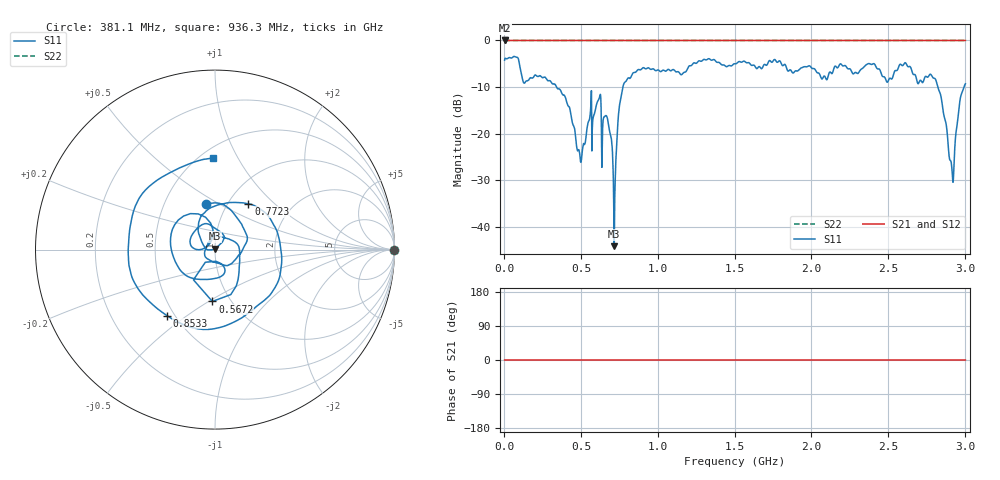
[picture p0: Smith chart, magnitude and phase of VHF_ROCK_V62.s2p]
!Keysight Technologies N9923A: A.08.09
!Date: Thursday, 02 August 2018 07:22:11
!Timezone: (GMT+08:00) Kuala Lumpur, Singapore
!Model: N9923A
!Serial: MY52412143
!GPS Latitude:
!GPS Longitude:
!GPS TimeStamp: 0001-01-01 00:00:00Z
!GPS Seconds Since Last Read: 0
!CHECKSUM:1125329345
!Correction: S11(ON U)S21()S12()S22()
!S2P File: Measurements:S11,S21,S12,S22:
# Hz S DB R 50
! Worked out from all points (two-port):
!   3000 points, 2 MHz to 3.002 GHz, reference 50 ohm
!   highest |S21| = 0.00 dB at 2 MHz (marker M1); lowest = 0.0 dB at 2 MHz (marker M2)
!   |S21| within 3 dB of the highest: start of sweep to end of sweep
!   lowest |S11| = -44.2 dB at 715.2 MHz (marker M3), VSWR 1.01, Z = 49.8 + j0.581 ohm
!   |S11| at or under -10 dB: 340 MHz to 772.3 MHz (432.3 MHz wide, 77.7 % of centre); 2.822 GHz to 2.993 GHz (170.8 MHz wide, 5.87 % of centre)
!   |S22| runs from 0.0 to 0.0 dB; largest |S21 - S12| = 0
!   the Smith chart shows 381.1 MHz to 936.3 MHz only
!   S11 on the Smith chart (normalised r, x): 381.1 MHz: 0.80, +0.44; 567.2 MHz: 0.82, -0.52; 772.3 MHz: 1.24, +0.70; 853.3 MHz: 0.45, -0.42; 936.3 MHz: 0.58, +0.79
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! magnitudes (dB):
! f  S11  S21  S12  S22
! 2 MHz  -4.2  0.0  0.0  0.0
! 381.1 MHz  -11.7  0.0  0.0  0.0
! 502.2 MHz  -25.6  0.0  0.0  0.0
! 567.2 MHz  -10.8  0.0  0.0  0.0
! 614.2 MHz  -12.7  0.0  0.0  0.0
! 645.2 MHz  -16.7  0.0  0.0  0.0
! 668.2 MHz  -16.4  0.0  0.0  0.0
! 715.2 MHz  -44.2  0.0  0.0  0.0
! 747.2 MHz  -14.7  0.0  0.0  0.0
! 772.3 MHz  -10.0  0.0  0.0  0.0
! 853.3 MHz  -6.8  0.0  0.0  0.0
! 936.3 MHz  -5.9  0.0  0.0  0.0
! 1.002 GHz  -6.3  0.0  0.0  0.0
! 1.503 GHz  -5.0  0.0  0.0  0.0
! 2.003 GHz  -6.0  0.0  0.0  0.0
! 2.503 GHz  -8.4  0.0  0.0  0.0
! 2.607 GHz  -4.8  0.0  0.0  0.0
! 2.799 GHz  -8.1  0.0  0.0  0.0
! 2.846 GHz  -12.5  0.0  0.0  0.0
! 2.914 GHz  -27.4  0.0  0.0  0.0
! 2.967 GHz  -12.8  0.0  0.0  0.0
! 3.002 GHz  -9.3  0.0  0.0  0.0
